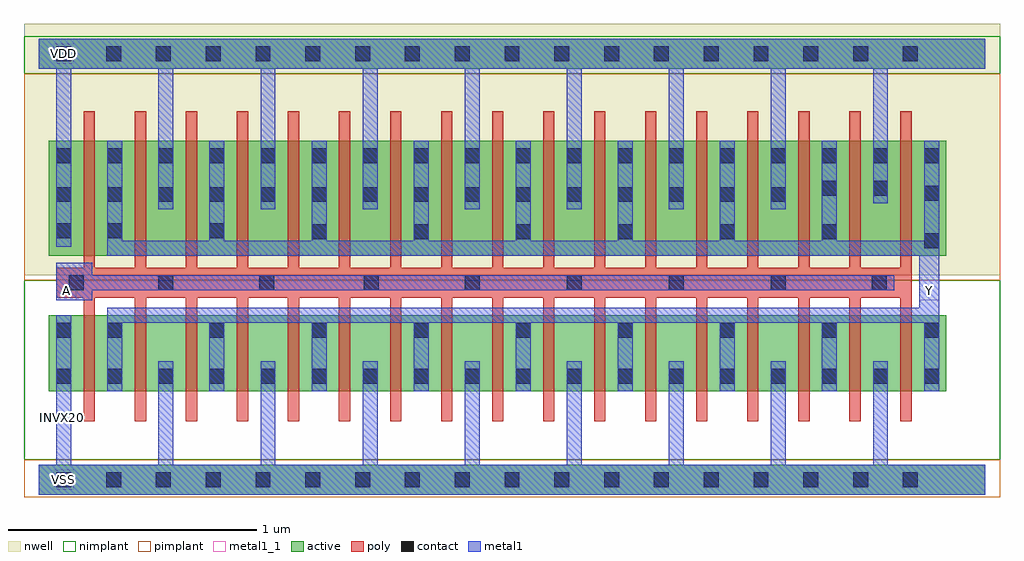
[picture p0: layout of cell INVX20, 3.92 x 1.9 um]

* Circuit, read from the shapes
.subckt INVX20 A VDD VSS Y
M1 Y A VSS VSS nfet w=0.305u l=0.045u m=17
M2 Y A VDD VDD pfet w=0.46u l=0.045u m=17
.ends

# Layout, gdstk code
import gdstk
lib = gdstk.Library(unit=1e-6, precision=5e-10)
def R(c, l, rs):  # rectangles x0, y0, x1, y1
    for r in rs: c.add(gdstk.rectangle(r[:2], r[2:], *l))
def A(c, l, x, y, w, h, nx, ny, dx, dy):  # array of equal rectangles
    R(c, l, [(x+i*dx, y+j*dy, x+i*dx+w, y+j*dy+h) for i in range(nx) for j in range(ny)])
def P(c, l, *ps):  # polygons
    for p in ps: c.add(gdstk.Polygon(p, *l))
active = (1, 0)
nwell = (2, 0)
poly = (3, 0)
nimplant = (4, 0)
pimplant = (5, 0)
contact = (6, 0)
metal1 = (7, 0)
metal1_1 = (7, 1)

invx20 = lib.new_cell('INVX20')
R(invx20, active, [(0,-0.06,3.8,0.06), (0.04,0.355,3.645,0.66), (0.04,0.9,3.645,1.36), (0,1.65,3.8,1.77)])
R(invx20, nwell, [(-0.06,0.82,3.86,1.83)])
P(invx20, poly, [(3.505,1.48),(3.46,1.48),(3.46,0.85),(3.3,0.85),(3.3,1.48),(3.255,1.48),(3.255,0.85),(3.095,0.85),(3.095,1.48),(3.05,1.48),(3.05,0.85),(2.89,0.85),(2.89,1.48),(2.845,1.48),(2.845,0.85),(2.685,0.85),(2.685,1.48),(2.64,1.48),(2.64,0.85),(2.48,0.85),(2.48,1.48),(2.435,1.48),(2.435,0.85),(2.275,0.85),(2.275,1.48),(2.23,1.48),(2.23,0.85),(2.07,0.85),(2.07,1.48),(2.025,1.48),(2.025,0.85),(1.865,0.85),(1.865,1.48),(1.82,1.48),(1.82,0.85),(1.66,0.85),(1.66,1.48),(1.615,1.48),(1.615,0.85),(1.455,0.85),(1.455,1.48),(1.41,1.48),(1.41,0.85),(1.25,0.85),(1.25,1.48),(1.205,1.48),(1.205,0.85),(1.045,0.85),(1.045,1.48),(1,1.48),(1,0.85),(0.84,0.85),(0.84,1.48),(0.795,1.48),(0.795,0.85),(0.635,0.85),(0.635,1.48),(0.59,1.48),(0.59,0.85),(0.43,0.85),(0.43,1.48),(0.385,1.48),(0.385,0.85),(0.225,0.85),(0.225,1.48),(0.18,1.48),(0.18,0.85),(0.07,0.85),(0.07,0.73),(0.18,0.73),(0.18,0.235),(0.225,0.235),(0.225,0.73),(0.385,0.73),(0.385,0.235),(0.43,0.235),(0.43,0.73),(0.59,0.73),(0.59,0.235),(0.635,0.235),(0.635,0.73),(0.795,0.73),(0.795,0.235),(0.84,0.235),(0.84,0.73),(1,0.73),(1,0.235),(1.045,0.235),(1.045,0.73),(1.205,0.73),(1.205,0.235),(1.25,0.235),(1.25,0.73),(1.41,0.73),(1.41,0.235),(1.455,0.235),(1.455,0.73),(1.615,0.73),(1.615,0.235),(1.66,0.235),(1.66,0.73),(1.82,0.73),(1.82,0.235),(1.865,0.235),(1.865,0.73),(2.025,0.73),(2.025,0.235),(2.07,0.235),(2.07,0.73),(2.23,0.73),(2.23,0.235),(2.275,0.235),(2.275,0.73),(2.435,0.73),(2.435,0.235),(2.48,0.235),(2.48,0.73),(2.64,0.73),(2.64,0.235),(2.685,0.235),(2.685,0.73),(2.845,0.73),(2.845,0.235),(2.89,0.235),(2.89,0.73),(3.05,0.73),(3.05,0.235),(3.095,0.235),(3.095,0.73),(3.255,0.73),(3.255,0.235),(3.3,0.235),(3.3,0.73),(3.46,0.73),(3.46,0.235),(3.505,0.235)])
R(invx20, nimplant, [(-0.06,0.08,3.86,0.8), (-0.06,1.63,3.86,1.78)])
R(invx20, pimplant, [(-0.06,-0.07,3.86,0.08), (-0.06,0.8,3.86,1.63)])
A(invx20, contact, 0.07, -0.03, 0.06, 0.06, 18, 2, 0.2, 1.71)
A(invx20, contact, 0.07, 0.385, 0.06, 0.06, 18, 2, 0.205, 0.885)
A(invx20, contact, 0.275, 0.57, 0.06, 0.06, 9, 1, 0.41, 0)
A(invx20, contact, 1.71, 0.76, 0.06, 0.06, 4, 1, 0.41, 0)
A(invx20, contact, 1.095, 0.965, 0.06, 0.06, 6, 1, 0.41, 0)
A(invx20, contact, 0.07, 1.115, 0.06, 0.06, 15, 1, 0.205, 0)
R(invx20, contact, [(0.07,0.57,0.13,0.63), (0.12,0.76,0.18,0.82), (0.48,0.76,0.54,0.82), (0.885,0.76,0.945,0.82), (1.305,0.76,1.365,0.82), (3.345,0.76,3.405,0.82), (3.555,0.93,3.615,0.99), (0.07,0.97,0.13,1.03), (0.275,0.97,0.335,1.03), (0.685,0.97,0.745,1.03), (3.555,1.12,3.615,1.18), (3.145,1.14,3.205,1.2), (3.35,1.14,3.41,1.2)])
P(invx20, metal1, [(3.8,0.06),(3.41,0.06),(3.41,0.475),(3.35,0.475),(3.35,0.06),(3,0.06),(3,0.475),(2.94,0.475),(2.94,0.06),(2.59,0.06),(2.59,0.475),(2.53,0.475),(2.53,0.06),(2.18,0.06),(2.18,0.475),(2.12,0.475),(2.12,0.06),(1.77,0.06),(1.77,0.475),(1.71,0.475),(1.71,0.06),(1.36,0.06),(1.36,0.475),(1.3,0.475),(1.3,0.06),(0.95,0.06),(0.95,0.475),(0.89,0.475),(0.89,0.06),(0.54,0.06),(0.54,0.475),(0.48,0.475),(0.48,0.06),(0.13,0.06),(0.13,0.66),(0.07,0.66),(0.07,0.06),(0,0.06),(0,-0.06),(3.8,-0.06)],
  [(3.8,1.77),(0,1.77),(0,1.65),(0.07,1.65),(0.07,0.935),(0.13,0.935),(0.13,1.65),(0.48,1.65),(0.48,1.085),(0.54,1.085),(0.54,1.65),(0.89,1.65),(0.89,1.085),(0.95,1.085),(0.95,1.65),(1.3,1.65),(1.3,1.085),(1.36,1.085),(1.36,1.65),(1.71,1.65),(1.71,1.085),(1.77,1.085),(1.77,1.65),(2.12,1.65),(2.12,1.085),(2.18,1.085),(2.18,1.65),(2.53,1.65),(2.53,1.085),(2.59,1.085),(2.59,1.65),(2.94,1.65),(2.94,1.085),(3,1.085),(3,1.65),(3.35,1.65),(3.35,1.11),(3.41,1.11),(3.41,1.65),(3.8,1.65)],
  [(3.435,0.82),(0.215,0.82),(0.215,0.87),(0.07,0.87),(0.07,0.72),(0.215,0.72),(0.215,0.76),(3.435,0.76)],
  [(3.615,1.36),(3.555,1.36),(3.555,0.96),(3.205,0.96),(3.205,1.36),(3.145,1.36),(3.145,0.96),(2.795,0.96),(2.795,1.36),(2.735,1.36),(2.735,0.96),(2.385,0.96),(2.385,1.36),(2.325,1.36),(2.325,0.96),(1.975,0.96),(1.975,1.36),(1.915,1.36),(1.915,0.96),(1.565,0.96),(1.565,1.36),(1.505,1.36),(1.505,0.96),(1.155,0.96),(1.155,1.36),(1.095,1.36),(1.095,0.96),(0.745,0.96),(0.745,1.36),(0.685,1.36),(0.685,0.96),(0.335,0.96),(0.335,1.36),(0.275,1.36),(0.275,0.9),(3.535,0.9),(3.535,0.69),(0.275,0.69),(0.275,0.355),(0.335,0.355),(0.335,0.63),(0.685,0.63),(0.685,0.355),(0.745,0.355),(0.745,0.63),(1.095,0.63),(1.095,0.355),(1.155,0.355),(1.155,0.63),(1.505,0.63),(1.505,0.355),(1.565,0.355),(1.565,0.63),(1.915,0.63),(1.915,0.355),(1.975,0.355),(1.975,0.63),(2.325,0.63),(2.325,0.355),(2.385,0.355),(2.385,0.63),(2.735,0.63),(2.735,0.355),(2.795,0.355),(2.795,0.63),(3.145,0.63),(3.145,0.355),(3.205,0.355),(3.205,0.63),(3.555,0.63),(3.555,0.355),(3.615,0.355)])
R(invx20, metal1_1, [(0.06,-0.04,0.14,0.04), (0.07,0.72,0.15,0.8), (3.535,0.72,3.615,0.8), (0.06,1.67,0.14,1.75)])
invx20.add(gdstk.Label('Y', (3.575,0.76), layer=7, texttype=1))
invx20.add(gdstk.Label('VSS', (0.1,0), layer=7, texttype=1))
invx20.add(gdstk.Label('A', (0.11,0.76), layer=7, texttype=1))
invx20.add(gdstk.Label('VDD', (0.1,1.71), layer=7, texttype=1))
invx20.add(gdstk.Label('INVX20', (0.095,0.25), layer=63, texttype=0))

lib.write_gds('INVX20.gds')
